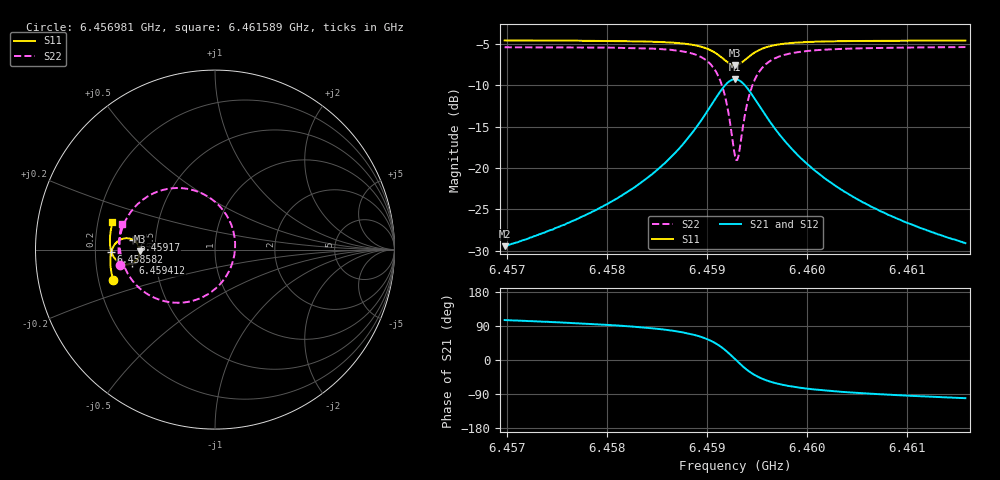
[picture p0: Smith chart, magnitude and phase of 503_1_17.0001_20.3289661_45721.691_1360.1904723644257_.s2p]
#  HZ  S  RI  R  50.00
! Rohde & Schwarz Vector Network Analyzer
! Rohde-Schwarz,ZNB20-2Port,1311601062101988,3.16
! Created: UTC 3/20/2024, 11:14:40 PM
! freq[Hz]  re:S11  im:S11  re:S21  im:S21  re:S12  im:S12  re:S22  im:S22
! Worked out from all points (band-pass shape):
!   401 points, 6.456981 GHz to 6.461589 GHz, reference 50 ohm
!   highest |S21| = -9.24 dB at 6.459285 GHz (marker M1); lowest = -29.5 dB at 6.456981 GHz (marker M2)
!   |S21| within 3 dB of the highest: 6.459055 GHz to 6.459516 GHz (460.8 kHz wide, 0.00713 % of centre)
!   lowest |S11| = -7.6 dB at 6.459285 GHz (marker M3), VSWR 2.44, Z = 20.5 - j0.481 ohm
!   |S11| at or under -10 dB: nowhere
!   |S22| runs from -19.0 to -5.4 dB; largest |S21 - S12| = 0.014
!   S11 on the Smith chart (normalised r, x): 6.456981 GHz: 0.26, -0.14; 6.458582 GHz: 0.27, -0.01; 6.45917 GHz: 0.37, +0.05; 6.459412 GHz: 0.37, -0.07; 6.461589 GHz: 0.26, +0.12
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6.4569807e9  -0.5667 -0.1719  -0.00895 0.0324  -0.00721 0.0324  -0.5319 -0.0845
6.4577526e9  -0.5808 -0.1044  -0.0055 0.0504  -0.00305 0.0497  -0.5375 0.00558
6.4581328e9  -0.5836 -0.0667  -0.000694 0.0671  0.00256 0.0657  -0.5309 0.0646
6.4585244e9  -0.5798 -0.0206  0.0142 0.0984  0.0181 0.0958  -0.504 0.1508
6.458582e9  -0.5781 -0.0126  0.0183 0.1052  0.0226 0.1024  -0.4958 0.1673
6.4587894e9  -0.565 0.0195  0.046 0.1376  0.0501 0.1329  -0.4442 0.2399
6.4589392e9  -0.5425 0.0457  0.091 0.1682  0.0944 0.1614  -0.361 0.3043
6.4590774e9  -0.4988 0.0633  0.1781 0.1846  0.1791 0.1773  -0.2021 0.343
6.4591696e9  -0.4542 0.0531  0.2677 0.1536  0.268 0.1477  -0.0358 0.2931
6.4592387e9  -0.4254 0.0213  0.3281 0.082  0.3303 0.0766  0.0797 0.1642
6.4592848e9  -0.4185 -0.00968  0.3447 0.0142  0.3483 0.00727  0.112 0.0373
6.4593078e9  -0.4201 -0.0254  0.3426 -0.021  0.3465 -0.0294  0.1078 -0.0295
6.4593194e9  -0.4223 -0.0332  0.3389 -0.0382  0.3428 -0.0473  0.1006 -0.0619
6.4593654e9  -0.4379 -0.0593  0.3105 -0.098  0.3126 -0.1098  0.0432 -0.1751
6.4594115e9  -0.4598 -0.0755  0.2686 -0.139  0.2677 -0.1523  -0.0416 -0.2499
6.4595037e9  -0.5031 -0.0823  0.1839 -0.1701  0.1777 -0.1818  -0.2103 -0.2961
6.4596534e9  -0.5469 -0.0618  0.096 -0.1564  0.0875 -0.1626  -0.3779 -0.247
6.4598147e9  -0.5684 -0.0342  0.0513 -0.1286  0.0437 -0.1314  -0.4584 -0.1749
6.4600567e9  -0.5811 0.00144  0.0222 -0.0971  0.0164 -0.0976  -0.5062 -0.0925
6.4604023e9  -0.5855 0.0423  0.0063 -0.0703  0.00218 -0.0699  -0.5278 -0.0134
6.4608285e9  -0.5835 0.0852  -0.00144 -0.0517  -0.00433 -0.0509  -0.5318 0.0548
6.4615889e9  -0.5711 0.1525  -0.00657 -0.0344  -0.00833 -0.0335  -0.5204 0.1445
